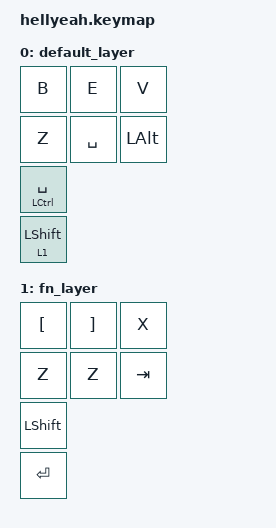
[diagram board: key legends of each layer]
/ {
    keymap {
        compatible = "zmk,keymap";

        default_layer {
            bindings = <
                &kp B      &kp E      &kp V
                &kp Z      &kp SPACE  &kp LALT

                &mt LCTRL SPACE
                &lt 1 LSHIFT
            >;
        };

        fn_layer {
            bindings = <
                // Brush controls / misc
                &kp LBKT   &kp RBKT   &kp X

                // Undo / redo / UI
                &kp Z      &kp Z      &kp TAB

                // Direct keys
                &kp LSHIFT
                &kp ENTER
            >;
        };
    };
};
